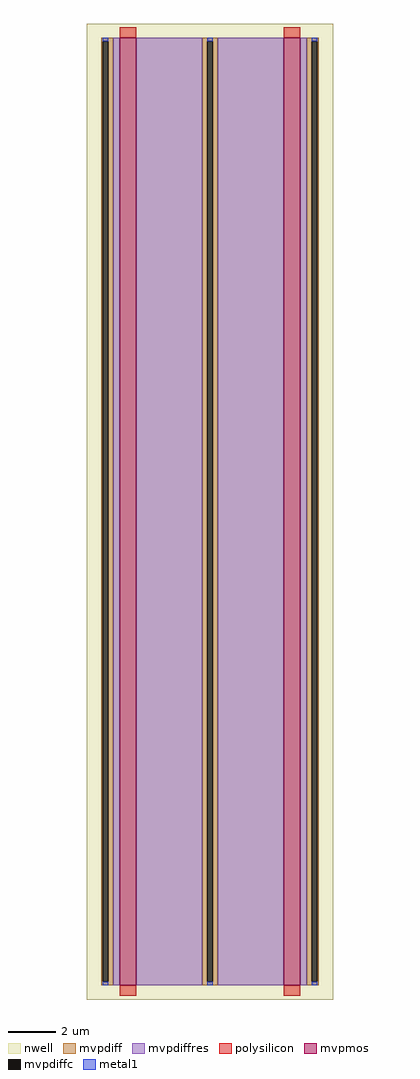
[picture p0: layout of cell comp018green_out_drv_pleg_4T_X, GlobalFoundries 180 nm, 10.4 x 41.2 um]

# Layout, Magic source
magic
tech gf180mcuD
magscale 1 5
use pmos_6p0_esd_40  pmos_6p0_esd_40_0
transform -1 0 1040 0 1 0
box 0 6 598 4126
use pmos_6p0_esd_40  pmos_6p0_esd_40_1
transform 1 0 0 0 1 0
box 0 6 598 4126
<< properties >>
string GDS_END 12687710
string GDS_FILE $PDKPATH/libs.ref/gf180mcu_ocd_io/gds/gf180mcu_ocd_io.gds
string GDS_START 12687546
<< end >>

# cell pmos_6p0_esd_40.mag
magic
tech gf180mcuD
magscale 1 10
<< nwell >>
rect 0 12 1196 8252
<< mvpmos >>
rect 278 132 418 8132
<< mvpdiff >>
rect 120 8103 222 8132
rect 120 161 133 8103
rect 179 161 222 8103
rect 120 132 222 161
rect 974 8103 1076 8132
rect 974 161 1017 8103
rect 1063 161 1076 8103
rect 974 132 1076 161
<< mvpdiffc >>
rect 133 161 179 8103
rect 1017 161 1063 8103
<< polysilicon >>
rect 278 8132 418 8220
rect 278 44 418 132
<< mvpdiffres >>
rect 222 132 278 8132
rect 418 132 974 8132
<< metal1 >>
rect 133 8103 179 8132
rect 133 132 179 161
rect 1017 8103 1063 8132
rect 1017 132 1063 161
<< properties >>
string GDS_END 12687484
string GDS_FILE $PDKPATH/libs.ref/gf180mcu_ocd_io/gds/gf180mcu_ocd_io.gds
string GDS_START 12675576
<< end >>
